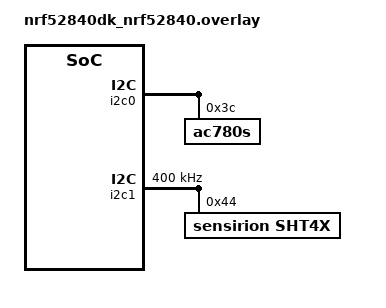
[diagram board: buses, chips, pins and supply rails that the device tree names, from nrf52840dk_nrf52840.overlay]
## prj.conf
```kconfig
CONFIG_I2C=y
CONFIG_CRC=y
CONFIG_AUXDISPLAY=y
CONFIG_AUXDISPLAY_AC780S=y
CONFIG_SENSOR=y
CONFIG_SHT4X=y
```

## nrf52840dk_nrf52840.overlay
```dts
&i2c0 {
	status = "okay";
	
    ac780s@3c {
		status = "okay";
		compatible = "ac780s";
		reg = <0x3C>;
		columns = <8>;
		rows = <2>;
	};
};

&i2c1 {
	status = "okay";
	clock-frequency = <I2C_BITRATE_FAST>;
    
	sht4x@44 {
		status = "okay";
		compatible = "sensirion,sht4x";
		reg = <0x44>;
		repeatability = <2>;
	};
};

&pinctrl {
	i2c0_default: i2c0_default{
		group1 {
			psels = <NRF_PSEL(TWIM_SDA, 0, 26)>,
				<NRF_PSEL(TWIM_SCL, 0, 27)>;
			bias-pull-up;
		};
	};

	i2c0_sleep: i2c0_sleep{
		group1 {
			psels = <NRF_PSEL(TWIM_SDA, 0, 26)>,
				<NRF_PSEL(TWIM_SCL, 0, 27)>;
			low-power-enable;
		};
	};

};
```

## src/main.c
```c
#include <zephyr/kernel.h>

#include <zephyr/device.h>
#include <zephyr/drivers/sensor.h>
#include <zephyr/drivers/auxdisplay.h>
#include <stdio.h>

#include <zephyr/drivers/sensor/sht4x.h>

//const static struct device *i2c0_disp = DEVICE_DT_GET(DT_CHILD(DT_NODELABEL(i2c0), ac780s_3c));
const static struct device *i2c0_disp = DEVICE_DT_GET(DT_CHILD(DT_NODELABEL(i2c0), serlcd_72));
const static struct device *i2c1_therm = DEVICE_DT_GET(DT_CHILD(DT_NODELABEL(i2c1), sht4x_44));

int main(void) {

    if (!device_is_ready(i2c0_disp)) {
		printf("i2c1 not ready :(\n");
		return 0;
	}
    if (!device_is_ready(i2c1_therm)) {
		printf("i2c1 not ready :(\n");
		return 0;
	}

    struct sensor_value temp, hum;

    int err = 0;

    uint8_t aux_buf[17];
    memset(aux_buf, 0, sizeof(aux_buf));


    while (1) {

        if (sensor_sample_fetch(i2c1_therm)) {
			printf("sample fetch failed :(\n");
			return 0;
		}

        err = sensor_channel_get(i2c1_therm, SENSOR_CHAN_AMBIENT_TEMP, &temp);
        if (err) {
            printk("Err [%d] in sht41\n", err);
        }
		err = sensor_channel_get(i2c1_therm, SENSOR_CHAN_HUMIDITY, &hum);
        if (err) {
            printk("Err [%d] in sht41\n", err);
        }

        printf("SHT4X: %02d Temp. [C] ; %02d RH [%%]\n",
            temp.val1,
            hum.val1
        );

        
        snprintk(
            aux_buf, 
            sizeof(uint8_t)*17, 
            " %02u.%01u  C%02u.%01u %%RH",
            temp.val1, (temp.val2/100000),
            hum.val1, (hum.val2/100000)
        );

        //for (int i = 0; i < 17; i++) {
        //    printk("%c", aux_buf[i]);
        //    if (i == 7) printk("\n");
        //}
        //printk("\n");

        aux_buf[6] = 0xDF; // "°" doesn't translate right
        auxdisplay_clear(i2c0_disp);
        err = auxdisplay_write(i2c0_disp, aux_buf, 16*sizeof(uint8_t));
        if (err) {
            printk("Err [%d] in auxdisplay\n", err);
        }

        memset(aux_buf, 0, sizeof(aux_buf));

        k_msleep(3333);
    }


    return 0;
}



/*

why does this:
snprintk(
    aux_buf, 
    sizeof(uint8_t)*17, 
    " %02u.%01u °C %02u.%01u %%RH",
    temp.val1, (temp.val2/100000),
    hum.val1, (hum.val2/100000)
);
aux_buf[6] = 0xDF;

put "23.9 °- "
    "C 31.4 %"

on the display???
*/
```
